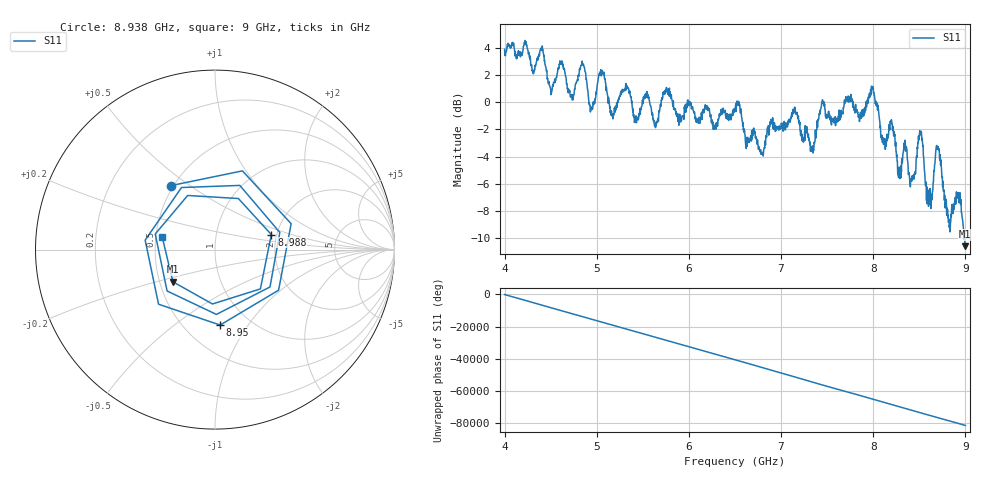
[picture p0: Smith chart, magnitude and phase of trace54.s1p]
! Created with skrf 1.8.0 (http://scikit-rf.org).
# Hz S RI R 50.0
!freq ReS11 ImS11
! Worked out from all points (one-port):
!   1601 points, 4 GHz to 9 GHz, reference 50 ohm
!   lowest |S11| = -10.6 dB at 8.997 GHz (marker M1), VSWR 1.84, Z = 29.3 - j11.5 ohm
!   |S11| at or under -10 dB: 8.983593 GHz to 8.985116 GHz (1.524 MHz wide, 0.017 % of centre); 8.992721 GHz to end of sweep
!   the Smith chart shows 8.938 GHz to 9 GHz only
!   S11 on the Smith chart (normalised r, x): 8.938 GHz: 0.49, +0.43; 8.95 GHz: 0.73, -0.75; 8.988 GHz: 1.87, +0.35; 9 GHz: 0.54, +0.08
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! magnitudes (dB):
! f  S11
! 4 GHz  3.9
! 4.503 GHz  0.6
! 4.625 GHz  2.8
! 4.728 GHz  0.6
! 4.853 GHz  2.7
! 4.941 GHz  -0.3
! 5.047 GHz  2.0
! 5.162 GHz  -0.9
! 5.25 GHz  0.5
! 5.875 GHz  -0.9
! 6.5 GHz  -0.4
! 6.788 GHz  -3.7
! 7.125 GHz  -0.8
! 7.338 GHz  -3.3
! 7.447 GHz  0.1
! 7.75 GHz  0.4
! 7.991 GHz  1.0
! 8.106 GHz  -2.9
! 8.375 GHz  -4.4
! 8.516 GHz  -2.4
! 8.603 GHz  -7.0
! 8.7 GHz  -3.4
! 8.822 GHz  -8.6
! 8.938 GHz  -7.3
! 8.95 GHz  -7.5
! 8.988 GHz  -9.8
! 8.997 GHz  -10.6
! 9 GHz  -10.4
